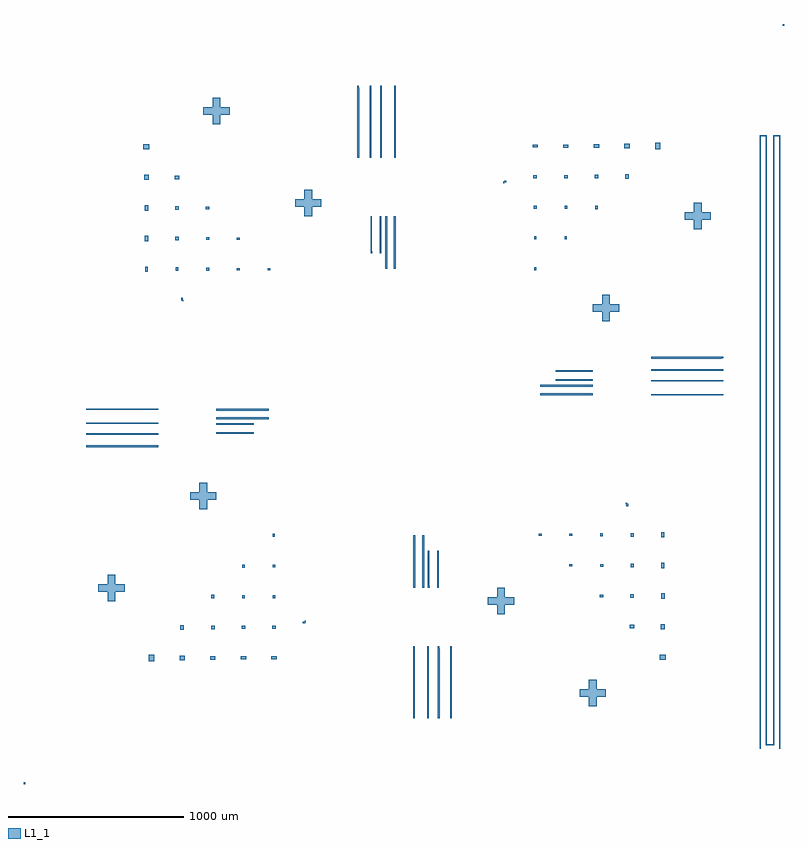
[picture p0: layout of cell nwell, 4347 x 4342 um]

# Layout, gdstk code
import gdstk
lib = gdstk.Library(unit=1e-6, precision=1e-09)
def R(c, l, rs):  # rectangles x0, y0, x1, y1
    for r in rs: c.add(gdstk.rectangle(r[:2], r[2:], *l))
def A(c, l, x, y, w, h, nx, ny, dx, dy):  # array of equal rectangles
    R(c, l, [(x+i*dx, y+j*dy, x+i*dx+w, y+j*dy+h) for i in range(nx) for j in range(ny)])
def P(c, l, *ps):  # polygons
    for p in ps: c.add(gdstk.Polygon(p, *l))
L1_1 = (1, 1)

nwell = lib.new_cell('nwell')
A(nwell, L1_1, 2280, 355, 8, 16, 1, 25, 0, 16)
A(nwell, L1_1, 2340, 355, 10.5, 16, 1, 25, 0, 16)
A(nwell, L1_1, 2200, 367, 8, 16, 1, 25, 0, 16)
A(nwell, L1_1, 2409.5, 367, 10.5, 16, 1, 25, 0, 16)
A(nwell, L1_1, 2200, 1100, 11.5, 12, 1, 25, 0, 12)
A(nwell, L1_1, 2249.5, 1100, 11.5, 12, 1, 25, 0, 12)
A(nwell, L1_1, 2336.5, 1100, 8, 8, 1, 25, 0, 8)
A(nwell, L1_1, 2283.5, 1112, 8, 8, 1, 25, 0, 8)
A(nwell, L1_1, 342, 1905, 16, 10.5, 25, 1, 16, 0)
A(nwell, L1_1, 330, 1974.5, 16, 10.5, 25, 1, 16, 0)
A(nwell, L1_1, 1075, 1980.5, 8, 8, 25, 1, 8, 0)
A(nwell, L1_1, 1087, 2033.5, 8, 8, 25, 1, 8, 0)
A(nwell, L1_1, 330, 2037, 16, 8, 25, 1, 16, 0)
A(nwell, L1_1, 1075, 2064, 12, 11.5, 25, 2, 12, 49.5)
A(nwell, L1_1, 342, 2117, 16, 8, 25, 1, 16, 0)
A(nwell, L1_1, 2925, 2200, 12, 11.5, 25, 2, 12, 49.5)
A(nwell, L1_1, 3558, 2200, 16, 8, 25, 1, 16, 0)
A(nwell, L1_1, 3570, 2280, 16, 8, 25, 1, 16, 0)
A(nwell, L1_1, 3013, 2283.5, 8, 8, 25, 1, 8, 0)
A(nwell, L1_1, 3025, 2336.5, 8, 8, 25, 1, 8, 0)
A(nwell, L1_1, 3570, 2340, 16, 10.5, 25, 1, 16, 0)
A(nwell, L1_1, 3558, 2409.5, 16, 10.5, 25, 1, 16, 0)
A(nwell, L1_1, 2039, 2925, 11.5, 12, 1, 25, 0, 12)
A(nwell, L1_1, 2088.5, 2925, 11.5, 12, 1, 25, 0, 12)
A(nwell, L1_1, 2008.5, 3013, 8, 8, 1, 25, 0, 8)
A(nwell, L1_1, 1955.5, 3025, 8, 8, 1, 25, 0, 8)
A(nwell, L1_1, 1880, 3558, 10.5, 16, 1, 25, 0, 16)
A(nwell, L1_1, 2092, 3558, 8, 16, 1, 25, 0, 16)
A(nwell, L1_1, 1949.5, 3570, 10.5, 16, 1, 25, 0, 16)
A(nwell, L1_1, 2012, 3570, 8, 16, 1, 25, 0, 16)
R(nwell, L1_1, [(-27,-20,-17,-10), (2200,355,2208,367), (2411,355,2420,367), (689,682.5,719,717.5), (864,687.5,894,712.5), (3607.5,689,3642.5,719), (1039,690,1069,710), (1214,691.5,1244,709), (1389,692.5,1419,708.5), (2280,755,2288,767), (2340,755,2349,767), (869,862.5,889,887.5), (3612.5,864,3637.5,894), (1044,865,1064,885), (1219,866,1239,883.5), (1394,867,1414,883), (3437.5,869,3462.5,889), (3615,1039,3635,1069), (1046.5,1040,1061.5,1060), (1221.5,1041,1236.5,1058.5), (1396.5,1042,1411.5,1058), (3440,1044,3460,1064), (3265,1046.5,3285,1061.5), (2283.5,1100,2292.5,1112), (3616,1214,3633.5,1244), (1223,1216,1235.5,1233.5), (1398,1217,1410.5,1233.5), (3441.5,1219,3459,1239), (3266.5,1221.5,3284,1236.5), (3091.5,1223,3109,1235.5), (2335.5,1300,2344.5,1312), (3616.5,1389,3632.5,1419), (1398,1392,1409.5,1408.5), (3442,1394,3458,1414), (3267,1396.5,3283,1411.5), (2916.5,1398,2933,1409.5), (3091.5,1398,3108,1410.5), (330,1905,342,1914), (730,1976,742,1985), (1275,1980.5,1287,1989.5), (1075,2032.5,1087,2041.5), (730,2037,742,2045), (330,2117,342,2125), (3958,2200,3970,2208), (3558,2280,3570,2288), (3213,2283.5,3225,2292.5), (3013,2335.5,3025,2344.5), (3558,2340,3570,2349), (3958,2411,3970,2420), (667.5,2906,683.5,2936), (842,2911,858,2931), (1017,2913.5,1033,2928.5), (1192,2914.5,1208.5,2927), (1367,2915.5,1383.5,2927), (2890.5,2916.5,2902,2933), (1955.5,3013,1964.5,3025), (666.5,3081,684,3111), (841,3086,858.5,3106), (1016,3088.5,1033.5,3103.5), (1191,3089.5,1208.5,3102), (2889.5,3091.5,2902,3108), (3064.5,3091.5,3077,3109), (2007.5,3213,2016.5,3225), (665,3256,685,3286), (840,3261,860,3281), (1015,3263.5,1035,3278.5), (3238.5,3265,3253.5,3285), (3063.5,3266.5,3078.5,3284), (2888.5,3267,2903.5,3283), (662.5,3431,687.5,3461), (837.5,3436,862.5,3456), (3411,3437.5,3431,3462.5), (3236,3440,3256,3460), (3061,3441.5,3081,3459), (2886,3442,2906,3458), (1951,3558,1960,3570), (2012,3558,2020,3570), (657.5,3606,692.5,3636), (3581,3607.5,3611,3642.5), (3406,3612.5,3436,3637.5), (3231,3615,3261,3635), (3056,3616,3086,3633.5), (2881,3616.5,2911,3632.5), (1880,3958,1889,3970), (2092,3958,2100,3970), (4310,4312,4320,4322)])
P(nwell, L1_1, [(2714,3413.5),(2719.5,3413.5),(2719.5,3414),(2720,3414),(2720,3414.5),(2720.5,3414.5),(2720.5,3415),(2721,3415),(2721,3415.5),(2721.5,3415.5),(2721.5,3416),(2722,3416),(2722,3416.5),(2722.5,3416.5),(2722.5,3417),(2723,3417),(2723,3417.5),(2732,3417.5),(2732,3427.5),(2718,3427.5),(2718,3422.5),(2717.5,3422.5),(2717.5,3422),(2717,3422),(2717,3421.5),(2716.5,3421.5),(2716.5,3421),(2716,3421),(2716,3420.5),(2715.5,3420.5),(2715.5,3420),(2715,3420),(2715,3419.5),(2714.5,3419.5),(2714.5,3418.5),(2714,3418.5)],
  [(1578,3225),(1622,3225),(1622,3278),(1675,3278),(1675,3322),(1622,3322),(1622,3375),(1578,3375),(1578,3322),(1525,3322),(1525,3278),(1578,3278)],
  [(1053,3750),(1097,3750),(1097,3803),(1150,3803),(1150,3847),(1097,3847),(1097,3900),(1053,3900),(1053,3847),(1000,3847),(1000,3803),(1053,3803)],
  [(886.5,2739),(886.5,2744.5),(886,2744.5),(886,2745),(885.5,2745),(885.5,2745.5),(885,2745.5),(885,2746),(884.5,2746),(884.5,2746.5),(884,2746.5),(884,2747),(883.5,2747),(883.5,2747.5),(883,2747.5),(883,2748),(882.5,2748),(882.5,2757),(872.5,2757),(872.5,2743),(877.5,2743),(877.5,2742.5),(878,2742.5),(878,2742),(878.5,2742),(878.5,2741.5),(879,2741.5),(879,2741),(879.5,2741),(879.5,2740.5),(880,2740.5),(880,2740),(880.5,2740),(880.5,2739.5),(881.5,2739.5),(881.5,2739)],
  [(1075,1603),(1075,1647),(1022,1647),(1022,1700),(978,1700),(978,1647),(925,1647),(925,1603),(978,1603),(978,1550),(1022,1550),(1022,1603)],
  [(550,1078),(550,1122),(497,1122),(497,1175),(453,1175),(453,1122),(400,1122),(400,1078),(453,1078),(453,1025),(497,1025),(497,1078)],
  [(3413.5,1586),(3413.5,1580.5),(3414,1580.5),(3414,1580),(3414.5,1580),(3414.5,1579.5),(3415,1579.5),(3415,1579),(3415.5,1579),(3415.5,1578.5),(3416,1578.5),(3416,1578),(3416.5,1578),(3416.5,1577.5),(3417,1577.5),(3417,1577),(3417.5,1577),(3417.5,1568),(3427.5,1568),(3427.5,1582),(3422.5,1582),(3422.5,1582.5),(3422,1582.5),(3422,1583),(3421.5,1583),(3421.5,1583.5),(3421,1583.5),(3421,1584),(3420.5,1584),(3420.5,1584.5),(3420,1584.5),(3420,1585),(3419.5,1585),(3419.5,1585.5),(3418.5,1585.5),(3418.5,1586)],
  [(3225,2722),(3225,2678),(3278,2678),(3278,2625),(3322,2625),(3322,2678),(3375,2678),(3375,2722),(3322,2722),(3322,2775),(3278,2775),(3278,2722)],
  [(3750,3247),(3750,3203),(3803,3203),(3803,3150),(3847,3150),(3847,3203),(3900,3203),(3900,3247),(3847,3247),(3847,3300),(3803,3300),(3803,3247)],
  [(1586,911.5),(1580.5,911.5),(1580.5,911),(1580,911),(1580,910.5),(1579.5,910.5),(1579.5,910),(1579,910),(1579,909.5),(1578.5,909.5),(1578.5,909),(1578,909),(1578,908.5),(1577.5,908.5),(1577.5,908),(1577,908),(1577,907.5),(1568,907.5),(1568,897.5),(1582,897.5),(1582,902.5),(1582.5,902.5),(1582.5,903),(1583,903),(1583,903.5),(1583.5,903.5),(1583.5,904),(1584,904),(1584,904.5),(1584.5,904.5),(1584.5,905),(1585,905),(1585,905.5),(1585.5,905.5),(1585.5,906.5),(1586,906.5)],
  [(2722,1100),(2678,1100),(2678,1047),(2625,1047),(2625,1003),(2678,1003),(2678,950),(2722,950),(2722,1003),(2775,1003),(2775,1047),(2722,1047)],
  [(3247,575),(3203,575),(3203,522),(3150,522),(3150,478),(3203,478),(3203,425),(3247,425),(3247,478),(3300,478),(3300,522),(3247,522)],
  [(4178,3687),(4178,180),(4185,180),(4185,3680),(4213,3680),(4213,201),(4262,201),(4262,3680),(4290,3680),(4290,180),(4297,180),(4297,3687),(4255,3687),(4255,208),(4220,208),(4220,3687)])

lib.write_gds('nwell.gds')
